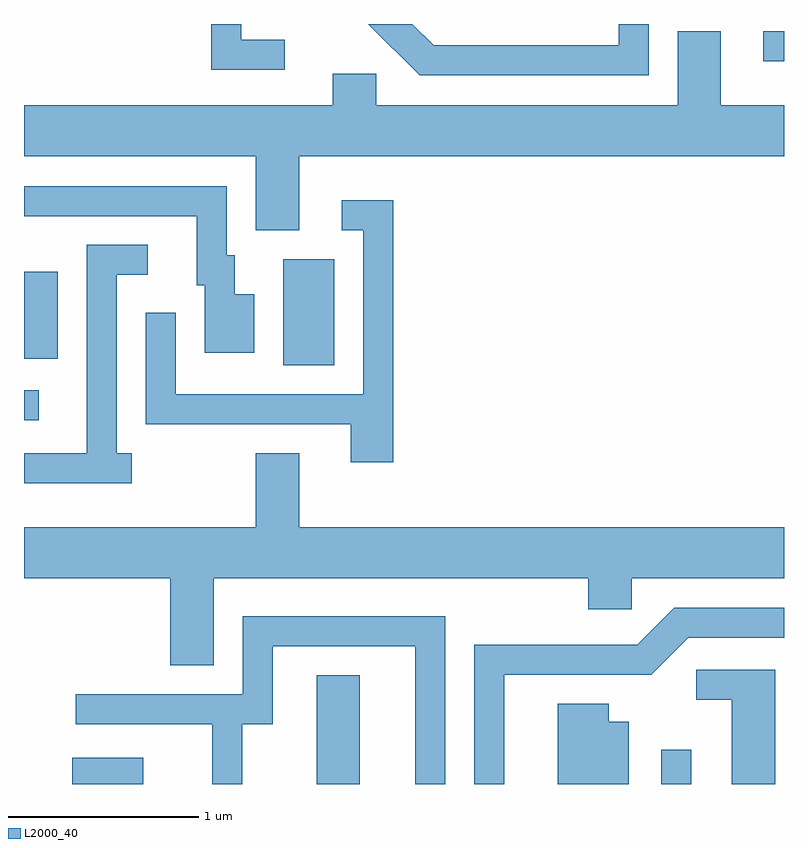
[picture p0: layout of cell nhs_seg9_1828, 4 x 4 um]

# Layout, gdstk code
import gdstk
lib = gdstk.Library(unit=1e-6, precision=1e-09)
def R(c, l, rs):  # rectangles x0, y0, x1, y1
    for r in rs: c.add(gdstk.rectangle(r[:2], r[2:], *l))
def P(c, l, *ps):  # polygons
    for p in ps: c.add(gdstk.Polygon(p, *l))
L2000_40 = (2000, 40)

nhs_seg9_1828 = lib.new_cell('nhs_seg9_1828')
R(nhs_seg9_1828, L2000_40, [(237.866,2068.432,238.239,2068.569), (239.151,2068.432,239.379,2069.004), (240.966,2068.432,241.124,2068.613), (237.611,2070.346,237.688,2070.504), (238.976,2070.636,239.244,2071.194), (237.611,2070.671,237.789,2071.129), (241.503,2072.236,241.611,2072.394)])
P(nhs_seg9_1828, L2000_40, [(240.899,2072.432),(240.741,2072.432),(240.741,2072.319),(239.767,2072.319),(239.654,2072.432),(239.422,2072.432),(239.694,2072.161),(240.899,2072.161)],
  [(238.983,2072.349),(238.754,2072.349),(238.754,2072.432),(238.596,2072.432),(238.596,2072.191),(238.983,2072.191)],
  [(239.059,2071.736),(241.611,2071.736),(241.611,2072.004),(241.279,2072.004),(241.279,2072.394),(241.051,2072.394),(241.051,2072.004),(239.464,2072.004),(239.464,2072.169),(239.236,2072.169),(239.236,2072.004),(237.611,2072.004),(237.611,2071.736),(238.831,2071.736),(238.831,2071.346),(239.059,2071.346)],
  [(238.824,2071.009),(238.719,2071.009),(238.719,2071.214),(238.679,2071.214),(238.679,2071.579),(237.611,2071.579),(237.611,2071.421),(238.521,2071.421),(238.521,2071.056),(238.561,2071.056),(238.561,2070.701),(238.824,2070.701)],
  [(239.554,2071.504),(239.283,2071.504),(239.283,2071.346),(239.396,2071.346),(239.396,2070.484),(238.409,2070.484),(238.409,2070.913),(238.251,2070.913),(238.251,2070.326),(239.331,2070.326),(239.331,2070.126),(239.554,2070.126)],
  [(238.178,2070.174),(238.099,2070.174),(238.099,2071.111),(238.263,2071.111),(238.263,2071.269),(237.941,2071.269),(237.941,2070.174),(237.611,2070.174),(237.611,2070.016),(238.178,2070.016)],
  [(237.611,2069.516),(238.381,2069.516),(238.381,2069.056),(238.609,2069.056),(238.609,2069.516),(240.581,2069.516),(240.581,2069.351),(240.809,2069.351),(240.809,2069.516),(241.611,2069.516),(241.611,2069.784),(239.059,2069.784),(239.059,2070.174),(238.831,2070.174),(238.831,2069.784),(237.611,2069.784)],
  [(240.139,2069.006),(240.912,2069.006),(241.107,2069.201),(241.611,2069.201),(241.611,2069.359),(241.034,2069.359),(240.839,2069.164),(239.981,2069.164),(239.981,2068.432),(240.139,2068.432)],
  [(238.759,2068.746),(238.919,2068.746),(238.919,2069.156),(239.671,2069.156),(239.671,2068.432),(239.829,2068.432),(239.829,2069.314),(238.761,2069.314),(238.761,2068.904),(237.883,2068.904),(237.883,2068.746),(238.601,2068.746),(238.601,2068.432),(238.759,2068.432)],
  [(241.564,2069.034),(241.148,2069.034),(241.148,2068.876),(241.336,2068.876),(241.336,2068.432),(241.564,2068.432)],
  [(240.794,2068.759),(240.689,2068.759),(240.689,2068.854),(240.421,2068.854),(240.421,2068.432),(240.794,2068.432)])

lib.write_gds('nhs_seg9_1828.gds')
